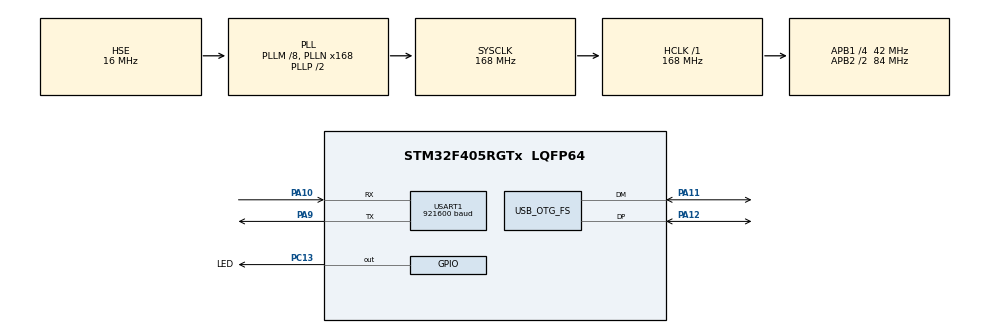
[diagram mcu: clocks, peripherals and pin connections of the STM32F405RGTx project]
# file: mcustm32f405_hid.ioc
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Mcu.Family=STM32F4
Mcu.Name=STM32F405RGTx
Mcu.Package=LQFP64
NVIC.OTG_FS_IRQn=true\:0\:0\:false\:false\:true\:false\:true\:true
NVIC.PriorityGroup=NVIC_PRIORITYGROUP_4
PA10.Mode=Asynchronous
PA10.Signal=USART1_RX
PA11.Mode=Device_Only
PA11.Signal=USB_OTG_FS_DM
PA12.Mode=Device_Only
PA12.Signal=USB_OTG_FS_DP
PA13.Mode=Trace_Asynchronous_SW
PA13.Signal=SYS_JTMS-SWDIO
PA14.Mode=Trace_Asynchronous_SW
PA14.Signal=SYS_JTCK-SWCLK
PA9.Mode=Asynchronous
PA9.Signal=USART1_TX
PB3.Mode=Trace_Asynchronous_SW
PB3.Signal=SYS_JTDO-SWO
PC13-ANTI_TAMP.GPIO_Label=LED
PC13-ANTI_TAMP.Signal=GPIO_Output
PH0-OSC_IN.Mode=HSE-External-Oscillator
PH0-OSC_IN.Signal=RCC_OSC_IN
PH1-OSC_OUT.Mode=HSE-External-Oscillator
PH1-OSC_OUT.Signal=RCC_OSC_OUT
ProjectManager.HeapSize=0x200
ProjectManager.StackSize=0x400
ProjectManager.TargetToolchain=STM32CubeIDE
RCC.48MHZClocksFreq_Value=48000000
RCC.AHBFreq_Value=168000000
RCC.APB1CLKDivider=RCC_HCLK_DIV4
RCC.APB1Freq_Value=42000000
RCC.APB1TimFreq_Value=84000000
RCC.APB2CLKDivider=RCC_HCLK_DIV2
RCC.APB2Freq_Value=84000000
RCC.APB2TimFreq_Value=168000000
RCC.CortexFreq_Value=168000000
RCC.HCLKFreq_Value=168000000
RCC.HSE_VALUE=16000000
RCC.HSI_VALUE=16000000
RCC.LSE_VALUE=32768
RCC.PLLM=8
RCC.PLLN=168
RCC.PLLQ=7
RCC.SYSCLKFreq_VALUE=168000000
RCC.SYSCLKSource=RCC_SYSCLKSOURCE_PLLCLK
RCC.VCOOutputFreq_Value=336000000
USART1.BaudRate=921600
USART1.VirtualMode=VM_ASYNC
USB_DEVICE.CLASS_NAME_FS=CUSTOM_HID
USB_DEVICE.MANUFACTURER_STRING-CUSTOM_HID_FS=STM32World
USB_DEVICE.USBD_CUSTOMHID_OUTREPORT_BUF_SIZE-CUSTOM_HID_FS=64
USB_DEVICE.USBD_CUSTOM_HID_REPORT_DESC_SIZE-CUSTOM_HID_FS=33
USB_DEVICE.VirtualMode-CUSTOM_HID_FS=CustomHid
USB_DEVICE.VirtualModeFS=Custom_Hid_FS
USB_OTG_FS.VirtualMode=Device_Only
VP_USB_DEVICE_VS_USB_DEVICE_CUSTOM_HID_FS.Mode=CUSTOM_HID_FS
board=custom

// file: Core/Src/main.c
/* USER CODE BEGIN Header */
/**
 ******************************************************************************
 * @file           : main.c
 * @brief          : Main program body
 ******************************************************************************
 * @attention
 *
 * Copyright (c) 2024 Lars Boegild Thomsen <lbthomsen@gmail.com>
 * All rights reserved.
 *
 * This software is licensed under terms that can be found in the LICENSE file
 * in the root directory of this software component.
 * If no LICENSE file comes with this software, it is provided AS-IS.
 *
 ******************************************************************************
 */
/* USER CODE END Header */
#include "main.h"
#include "usb_device.h"

/* USER CODE BEGIN PD */
#define BLINK_INTERVAL 500
#define TICK_INTERVAL 1000
/* USER CODE END PD */

UART_HandleTypeDef huart1;

void SystemClock_Config(void);
static void MX_GPIO_Init(void);
static void MX_USART1_UART_Init(void);

/* USER CODE BEGIN 0 */

// Send printf to uart1
int _write(int fd, char *ptr, int len) {
    HAL_StatusTypeDef hstatus;

    if (fd == 1 || fd == 2) {
        hstatus = HAL_UART_Transmit(&huart1, (uint8_t*) ptr, len, HAL_MAX_DELAY);
        if (hstatus == HAL_OK)
            return len;
        else
            return -1;
    }
    return -1;
}

/* USER CODE END 0 */

int main(void)
{

  /* MCU Configuration--------------------------------------------------------*/

  /* Reset of all peripherals, Initializes the Flash interface and the Systick. */
  HAL_Init();

  /* Configure the system clock */
  SystemClock_Config();

  /* Initialize all configured peripherals */
  MX_GPIO_Init();
  MX_USART1_UART_Init();
  MX_USB_DEVICE_Init();
  /* USER CODE BEGIN 2 */

    printf("\n\n\n\n--------\nStarting\n");

  /* USER CODE END 2 */

  /* Infinite loop */
  /* USER CODE BEGIN WHILE */

    uint32_t now = 0, next_tick = TICK_INTERVAL, next_blink = BLINK_INTERVAL;

    while (1) {

        now = uwTick;

        if (now > next_blink) {

            HAL_GPIO_TogglePin(LED_GPIO_Port, LED_Pin);

            next_blink = now + BLINK_INTERVAL;
        }

        if (now > next_tick) {

            printf("Tick %lu\n", now / 1000);

            next_tick = now + TICK_INTERVAL;
        }

    /* USER CODE END WHILE */

    }
}

void SystemClock_Config(void)
{
  RCC_OscInitTypeDef RCC_OscInitStruct = {0};
  RCC_ClkInitTypeDef RCC_ClkInitStruct = {0};

  /** Configure the main internal regulator output voltage
  */
  __HAL_RCC_PWR_CLK_ENABLE();
  __HAL_PWR_VOLTAGESCALING_CONFIG(PWR_REGULATOR_VOLTAGE_SCALE1);

  /** Initializes the RCC Oscillators according to the specified parameters
  * in the RCC_OscInitTypeDef structure.
  */
  RCC_OscInitStruct.OscillatorType = RCC_OSCILLATORTYPE_HSE;
  RCC_OscInitStruct.HSEState = RCC_HSE_ON;
  RCC_OscInitStruct.PLL.PLLState = RCC_PLL_ON;
  RCC_OscInitStruct.PLL.PLLSource = RCC_PLLSOURCE_HSE;
  RCC_OscInitStruct.PLL.PLLM = 8;
  RCC_OscInitStruct.PLL.PLLN = 168;
  RCC_OscInitStruct.PLL.PLLP = RCC_PLLP_DIV2;
  RCC_OscInitStruct.PLL.PLLQ = 7;
  if (HAL_RCC_OscConfig(&RCC_OscInitStruct) != HAL_OK)
  {
    Error_Handler();
  }

  /** Initializes the CPU, AHB and APB buses clocks
  */
  RCC_ClkInitStruct.ClockType = RCC_CLOCKTYPE_HCLK|RCC_CLOCKTYPE_SYSCLK
                              |RCC_CLOCKTYPE_PCLK1|RCC_CLOCKTYPE_PCLK2;
  RCC_ClkInitStruct.SYSCLKSource = RCC_SYSCLKSOURCE_PLLCLK;
  RCC_ClkInitStruct.AHBCLKDivider = RCC_SYSCLK_DIV1;
  RCC_ClkInitStruct.APB1CLKDivider = RCC_HCLK_DIV4;
  RCC_ClkInitStruct.APB2CLKDivider = RCC_HCLK_DIV2;

  if (HAL_RCC_ClockConfig(&RCC_ClkInitStruct, FLASH_LATENCY_5) != HAL_OK)
  {
    Error_Handler();
  }
}

static void MX_USART1_UART_Init(void)
{

  huart1.Instance = USART1;
  huart1.Init.BaudRate = 921600;
  huart1.Init.WordLength = UART_WORDLENGTH_8B;
  huart1.Init.StopBits = UART_STOPBITS_1;
  huart1.Init.Parity = UART_PARITY_NONE;
  huart1.Init.Mode = UART_MODE_TX_RX;
  huart1.Init.HwFlowCtl = UART_HWCONTROL_NONE;
  huart1.Init.OverSampling = UART_OVERSAMPLING_16;
  if (HAL_UART_Init(&huart1) != HAL_OK)
  {
    Error_Handler();
  }

}

static void MX_GPIO_Init(void)
{
  GPIO_InitTypeDef GPIO_InitStruct = {0};

  /* GPIO Ports Clock Enable */
  __HAL_RCC_GPIOC_CLK_ENABLE();
  __HAL_RCC_GPIOH_CLK_ENABLE();
  __HAL_RCC_GPIOA_CLK_ENABLE();
  __HAL_RCC_GPIOB_CLK_ENABLE();

  /*Configure GPIO pin Output Level */
  HAL_GPIO_WritePin(LED_GPIO_Port, LED_Pin, GPIO_PIN_RESET);

  /*Configure GPIO pin : LED_Pin */
  GPIO_InitStruct.Pin = LED_Pin;
  GPIO_InitStruct.Mode = GPIO_MODE_OUTPUT_PP;
  GPIO_InitStruct.Pull = GPIO_NOPULL;
  GPIO_InitStruct.Speed = GPIO_SPEED_FREQ_LOW;
  HAL_GPIO_Init(LED_GPIO_Port, &GPIO_InitStruct);

}

void Error_Handler(void)
{
    __disable_irq();
    while (1)
    {
    }
}
